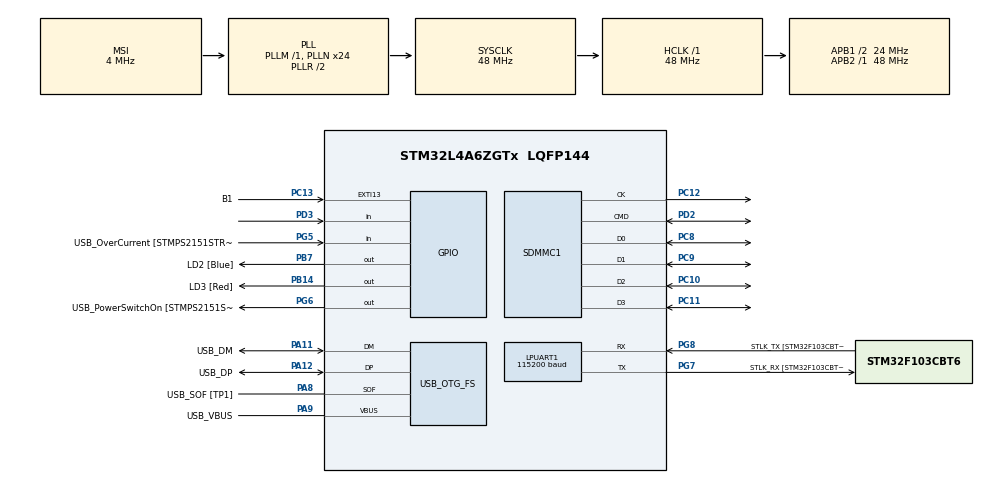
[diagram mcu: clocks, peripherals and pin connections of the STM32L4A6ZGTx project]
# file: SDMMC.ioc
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Dma.Request0=SDMMC1_TX
Dma.Request1=SDMMC1_RX
Dma.SDMMC1_RX.1.Direction=DMA_PERIPH_TO_MEMORY
Dma.SDMMC1_RX.1.Instance=DMA2_Channel5
Dma.SDMMC1_RX.1.MemDataAlignment=DMA_MDATAALIGN_WORD
Dma.SDMMC1_RX.1.MemInc=DMA_MINC_ENABLE
Dma.SDMMC1_RX.1.Mode=DMA_NORMAL
Dma.SDMMC1_RX.1.PeriphDataAlignment=DMA_PDATAALIGN_WORD
Dma.SDMMC1_RX.1.PeriphInc=DMA_PINC_DISABLE
Dma.SDMMC1_RX.1.Priority=DMA_PRIORITY_HIGH
Dma.SDMMC1_TX.0.Direction=DMA_MEMORY_TO_PERIPH
Dma.SDMMC1_TX.0.Instance=DMA2_Channel4
Dma.SDMMC1_TX.0.MemDataAlignment=DMA_MDATAALIGN_WORD
Dma.SDMMC1_TX.0.MemInc=DMA_MINC_ENABLE
Dma.SDMMC1_TX.0.Mode=DMA_NORMAL
Dma.SDMMC1_TX.0.PeriphDataAlignment=DMA_PDATAALIGN_WORD
Dma.SDMMC1_TX.0.PeriphInc=DMA_PINC_DISABLE
Dma.SDMMC1_TX.0.Priority=DMA_PRIORITY_HIGH
FATFS.BSP.number=1
FATFS.USE_DMA_CODE_SD=1
FATFS._FS_EXFAT=0
FATFS._FS_RPATH=2
FATFS._USE_FIND=1
FATFS._USE_LFN=2
FATFS0.BSP.STBoard=false
FATFS0.BSP.api=Unknown
FATFS0.BSP.i2caddr=0
FATFS0.BSP.instance=PD3
FATFS0.BSP.ip=GPIO
FATFS0.BSP.mode=Input
FATFS0.BSP.name=Detect_SDIO
FATFS0.BSP.solution=PD3
LPUART1.AutoBaudRateEnableParam=UART_ADVFEATURE_AUTOBAUDRATE_DISABLE
LPUART1.BaudRate=115200
LPUART1.DMADisableonRxErrorParam=UART_ADVFEATURE_DMA_ENABLEONRXERROR
LPUART1.DataInvertParam=UART_ADVFEATURE_DATAINV_DISABLE
LPUART1.MSBFirstParam=UART_ADVFEATURE_MSBFIRST_DISABLE
LPUART1.Mode=UART_MODE_TX_RX
LPUART1.OneBitSampling=UART_ONE_BIT_SAMPLE_DISABLE
LPUART1.OverrunDisableParam=UART_ADVFEATURE_OVERRUN_ENABLE
LPUART1.Parity=UART_PARITY_NONE
LPUART1.RxPinLevelInvertParam=UART_ADVFEATURE_RXINV_DISABLE
LPUART1.StopBits=UART_STOPBITS_1
LPUART1.SwapParam=UART_ADVFEATURE_SWAP_DISABLE
LPUART1.TxPinLevelInvertParam=UART_ADVFEATURE_TXINV_DISABLE
LPUART1.WordLength=UART_WORDLENGTH_8B
Mcu.Family=STM32L4
Mcu.Name=STM32L4A6ZGTx
Mcu.Package=LQFP144
NVIC.DMA2_Channel4_IRQn=true\:0\:0\:false\:false\:true\:false\:true\:true
NVIC.DMA2_Channel5_IRQn=true\:0\:0\:false\:false\:true\:false\:true\:true
NVIC.LPUART1_IRQn=true\:0\:0\:false\:false\:true\:true\:true\:true
NVIC.PriorityGroup=NVIC_PRIORITYGROUP_4
NVIC.SDMMC1_IRQn=true\:0\:0\:false\:false\:true\:true\:true\:true
NVIC.TIM1_TRG_COM_TIM17_IRQn=true\:15\:0\:false\:false\:true\:false\:true\:true
NVIC.TimeBase=TIM1_TRG_COM_TIM17_IRQn
NVIC.TimeBaseIP=TIM17
PA10.GPIO_Label=USB_ID
PA10.Signal=USB_OTG_FS_ID
PA11.GPIO_Label=USB_DM
PA11.Mode=Device_Only
PA11.Signal=USB_OTG_FS_DM
PA12.GPIO_Label=USB_DP
PA12.Mode=Device_Only
PA12.Signal=USB_OTG_FS_DP
PA13\ (JTMS/SWDIO).GPIO_Label=TMS
PA13\ (JTMS/SWDIO).Mode=Trace_Asynchronous_SW
PA13\ (JTMS/SWDIO).Signal=SYS_JTMS-SWDIO
PA14\ (JTCK/SWCLK).GPIO_Label=TCK
PA14\ (JTCK/SWCLK).Mode=Trace_Asynchronous_SW
PA14\ (JTCK/SWCLK).Signal=SYS_JTCK-SWCLK
PA8.GPIO_Label=USB_SOF [TP1]
PA8.Mode=Activate_SOF_FS
PA8.Signal=USB_OTG_FS_SOF
PA9.GPIO_Label=USB_VBUS
PA9.Mode=Activate_VBUS
PA9.Signal=USB_OTG_FS_VBUS
PB14.GPIO_Label=LD3 [Red]
PB14.Signal=GPIO_Output
PB3\ (JTDO/TRACESWO).GPIO_Label=SWO
PB3\ (JTDO/TRACESWO).Mode=Trace_Asynchronous_SW
PB3\ (JTDO/TRACESWO).Signal=SYS_JTDO-SWO
PB7.GPIO_Label=LD2 [Blue]
PB7.Signal=GPIO_Output
PC10.Mode=SD_4_bits_Wide_bus
PC10.Signal=SDMMC1_D2
PC11.Mode=SD_4_bits_Wide_bus
PC11.Signal=SDMMC1_D3
PC12.Mode=SD_4_bits_Wide_bus
PC12.Signal=SDMMC1_CK
PC13.GPIO_Label=B1
PC13.Signal=GPXTI13
PC14-OSC32_IN\ (PC14).Mode=LSE-External-Oscillator
PC14-OSC32_IN\ (PC14).Signal=RCC_OSC32_IN
PC15-OSC32_OUT\ (PC15).Mode=LSE-External-Oscillator
PC15-OSC32_OUT\ (PC15).Signal=RCC_OSC32_OUT
PC8.Mode=SD_4_bits_Wide_bus
PC8.Signal=SDMMC1_D0
PC9.Mode=SD_4_bits_Wide_bus
PC9.Signal=SDMMC1_D1
PD2.Mode=SD_4_bits_Wide_bus
PD2.Signal=SDMMC1_CMD
PD3.Signal=GPIO_Input
PG5.GPIO_Label=USB_OverCurrent [STMPS2151STR_FAULT]
PG5.Signal=GPIO_Input
PG6.GPIO_Label=USB_PowerSwitchOn [STMPS2151STR_EN]
PG6.Signal=GPIO_Output
PG7.GPIO_Label=STLK_RX [STM32F103CBT6_PA3]
PG7.Mode=Asynchronous
PG7.Signal=LPUART1_TX
PG8.GPIO_Label=STLK_TX [STM32F103CBT6_PA2]
PG8.Mode=Asynchronous
PG8.Signal=LPUART1_RX
PH1-OSC_OUT\ (PH1).Signal=RCC_OSC_OUT
ProjectManager.HeapSize=0x400
ProjectManager.StackSize=0x800
ProjectManager.TargetToolchain=STM32CubeIDE
RCC.ADCFreq_Value=48000000
RCC.AHBFreq_Value=48000000
RCC.APB1CLKDivider=RCC_HCLK_DIV2
RCC.APB1Freq_Value=24000000
RCC.APB1TimFreq_Value=48000000
RCC.APB2Freq_Value=48000000
RCC.APB2TimFreq_Value=48000000
RCC.CortexFreq_Value=48000000
RCC.FLatency=FLASH_LATENCY_2
RCC.HCLKFreq_Value=48000000
RCC.HSE_VALUE=8000000
RCC.HSI48_VALUE=48000000
RCC.HSI_VALUE=16000000
RCC.MSI_VALUE=4000000
RCC.PLLN=24
RCC.PLLSAI1N=24
RCC.SYSCLKFreq_VALUE=48000000
RCC.SYSCLKSource=RCC_SYSCLKSOURCE_PLLCLK
RCC.USBFreq_Value=48000000
RCC.VCOOutputFreq_Value=96000000
SDMMC1.ClockBypass=SDMMC_CLOCK_BYPASS_DISABLE
SDMMC1.ClockDiv=0
SDMMC1.ClockPowerSave=SDMMC_CLOCK_POWER_SAVE_DISABLE
SDMMC1.HardwareFlowControl=SDMMC_HARDWARE_FLOW_CONTROL_ENABLE
USB_OTG_FS.Sof_enable=ENABLE
USB_OTG_FS.VirtualMode=Device_Only
USB_OTG_FS.battery_charging_enable=ENABLE
USB_OTG_FS.low_power_enable=DISABLE
USB_OTG_FS.lpm_enable=DISABLE
USB_OTG_FS.use_dedicated_ep1=DISABLE
USB_OTG_FS.vbus_sensing_enable=ENABLE
VP_FATFS_VS_SDIO.Mode=SDIO
VP_SYS_VS_tim17.Mode=TIM17
board=NUCLEO-L4A6ZG

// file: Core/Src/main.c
/* USER CODE BEGIN Header */
/**
  ******************************************************************************
  * @file           : main.c
  * @brief          : Main program body
  ******************************************************************************
  * @attention
  *
  * Copyright (c) 2022 STMicroelectronics.
  * All rights reserved.
  *
  * This software is licensed under terms that can be found in the LICENSE file
  * in the root directory of this software component.
  * If no LICENSE file comes with this software, it is provided AS-IS.
  *
  ******************************************************************************
  */
/* USER CODE END Header */
#include "main.h"
#include "dma.h"
#include "fatfs.h"
#include "usart.h"
#include "sdmmc.h"
#include "usb_otg.h"
#include "gpio.h"

/* USER CODE BEGIN Includes */
#include <stdio.h>
/* USER CODE END Includes */

void SystemClock_Config(void);
void PeriphCommonClock_Config(void);

int main(void)
{

  /* MCU Configuration--------------------------------------------------------*/

  /* Reset of all peripherals, Initializes the Flash interface and the Systick. */
  HAL_Init();

  /* Configure the system clock */
  SystemClock_Config();

/* Configure the peripherals common clocks */
  PeriphCommonClock_Config();

  /* Initialize all configured peripherals */
  MX_GPIO_Init();
  MX_LPUART1_UART_Init();
  MX_USB_OTG_FS_PCD_Init();
  MX_DMA_Init();
  MX_FATFS_Init();
  MX_SDMMC1_SD_Init();
  /* USER CODE BEGIN 2 */
  void test();
  test();
  /* USER CODE END 2 */

  /* Infinite loop */
  while (1)
  {

  }
}

void SystemClock_Config(void)
{
  RCC_OscInitTypeDef RCC_OscInitStruct = {0};
  RCC_ClkInitTypeDef RCC_ClkInitStruct = {0};

  /** Configure the main internal regulator output voltage
  */
  if (HAL_PWREx_ControlVoltageScaling(PWR_REGULATOR_VOLTAGE_SCALE1) != HAL_OK)
  {
    Error_Handler();
  }

  /** Configure LSE Drive Capability
  */
  HAL_PWR_EnableBkUpAccess();
  __HAL_RCC_LSEDRIVE_CONFIG(RCC_LSEDRIVE_LOW);

  /** Initializes the RCC Oscillators according to the specified parameters
  * in the RCC_OscInitTypeDef structure.
  */
  RCC_OscInitStruct.OscillatorType = RCC_OSCILLATORTYPE_LSE|RCC_OSCILLATORTYPE_MSI;
  RCC_OscInitStruct.LSEState = RCC_LSE_ON;
  RCC_OscInitStruct.MSIState = RCC_MSI_ON;
  RCC_OscInitStruct.MSICalibrationValue = 0;
  RCC_OscInitStruct.MSIClockRange = RCC_MSIRANGE_6;
  RCC_OscInitStruct.PLL.PLLState = RCC_PLL_ON;
  RCC_OscInitStruct.PLL.PLLSource = RCC_PLLSOURCE_MSI;
  RCC_OscInitStruct.PLL.PLLM = 1;
  RCC_OscInitStruct.PLL.PLLN = 24;
  RCC_OscInitStruct.PLL.PLLP = RCC_PLLP_DIV2;
  RCC_OscInitStruct.PLL.PLLQ = RCC_PLLQ_DIV2;
  RCC_OscInitStruct.PLL.PLLR = RCC_PLLR_DIV2;
  if (HAL_RCC_OscConfig(&RCC_OscInitStruct) != HAL_OK)
  {
    Error_Handler();
  }

  /** Initializes the CPU, AHB and APB buses clocks
  */
  RCC_ClkInitStruct.ClockType = RCC_CLOCKTYPE_HCLK|RCC_CLOCKTYPE_SYSCLK
                              |RCC_CLOCKTYPE_PCLK1|RCC_CLOCKTYPE_PCLK2;
  RCC_ClkInitStruct.SYSCLKSource = RCC_SYSCLKSOURCE_PLLCLK;
  RCC_ClkInitStruct.AHBCLKDivider = RCC_SYSCLK_DIV1;
  RCC_ClkInitStruct.APB1CLKDivider = RCC_HCLK_DIV2;
  RCC_ClkInitStruct.APB2CLKDivider = RCC_HCLK_DIV1;

  if (HAL_RCC_ClockConfig(&RCC_ClkInitStruct, FLASH_LATENCY_2) != HAL_OK)
  {
    Error_Handler();
  }

  /** Enable MSI Auto calibration
  */
  HAL_RCCEx_EnableMSIPLLMode();
}

void PeriphCommonClock_Config(void)
{
  RCC_PeriphCLKInitTypeDef PeriphClkInit = {0};

  /** Initializes the peripherals clock
  */
  PeriphClkInit.PeriphClockSelection = RCC_PERIPHCLK_USB|RCC_PERIPHCLK_SDMMC1;
  PeriphClkInit.UsbClockSelection = RCC_USBCLKSOURCE_PLLSAI1;
  PeriphClkInit.Sdmmc1ClockSelection = RCC_SDMMC1CLKSOURCE_PLLSAI1;
  PeriphClkInit.PLLSAI1.PLLSAI1Source = RCC_PLLSOURCE_MSI;
  PeriphClkInit.PLLSAI1.PLLSAI1M = 1;
  PeriphClkInit.PLLSAI1.PLLSAI1N = 24;
  PeriphClkInit.PLLSAI1.PLLSAI1P = RCC_PLLP_DIV2;
  PeriphClkInit.PLLSAI1.PLLSAI1Q = RCC_PLLQ_DIV2;
  PeriphClkInit.PLLSAI1.PLLSAI1R = RCC_PLLR_DIV2;
  PeriphClkInit.PLLSAI1.PLLSAI1ClockOut = RCC_PLLSAI1_48M2CLK;
  if (HAL_RCCEx_PeriphCLKConfig(&PeriphClkInit) != HAL_OK)
  {
    Error_Handler();
  }
}

/* USER CODE BEGIN 4 */
int __io_putchar(int ch) {
	// Wait until LPUART Transmit Data Register Empty Flag is set
	while (!LL_LPUART_IsActiveFlag_TXE(LPUART1))
//		vTaskDelay(pdMS_TO_TICKS(1));
		HAL_Delay(1);
	if ('\n' == ch)
		LL_LPUART_TransmitData8(LPUART1, '\r');
	while (!LL_LPUART_IsActiveFlag_TXE(LPUART1))
		HAL_Delay(1);
	LL_LPUART_TransmitData8(LPUART1, ch);
	return ch;
}

/**
 * @brief  Function called from LPUART IRQ Handler when RXNE flag is set
 *         Function is in charge of reading character received on USART RX line.
 * @param  None
 * @retval None
 */
void LPUART_CharReception_Callback() {
	while (LL_LPUART_IsActiveFlag_RXNE(LPUART1)) {
		uint8_t received_char = 0;

		/* Read Received character. RXNE flag is cleared by reading of RDR register */
		received_char = LL_LPUART_ReceiveData8(LPUART1);
		__io_putchar(received_char);
	}
}

/* USER CODE END 4 */

void HAL_TIM_PeriodElapsedCallback(TIM_HandleTypeDef *htim)
{
  if (htim->Instance == TIM17) {
    HAL_IncTick();
  }
}

void Error_Handler(void)
{
  __disable_irq();
  while (1)
  {
  }
}
